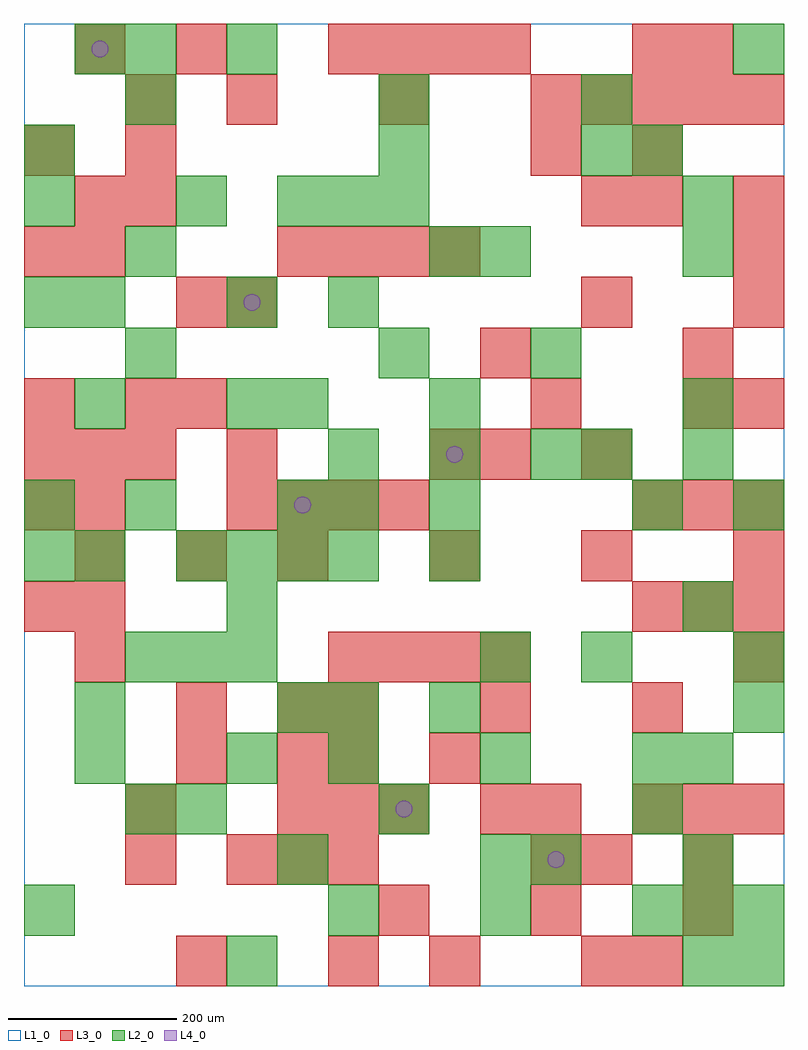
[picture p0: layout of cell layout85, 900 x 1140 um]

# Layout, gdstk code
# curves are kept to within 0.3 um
import gdstk
lib = gdstk.Library(unit=1e-6, precision=1e-09)
def R(c, l, rs):  # rectangles x0, y0, x1, y1
    for r in rs: c.add(gdstk.rectangle(r[:2], r[2:], *l))
def A(c, l, x, y, w, h, nx, ny, dx, dy):  # array of equal rectangles
    R(c, l, [(x+i*dx, y+j*dy, x+i*dx+w, y+j*dy+h) for i in range(nx) for j in range(ny)])
def P(c, l, *ps):  # polygons
    for p in ps: c.add(gdstk.Polygon(p, *l))
L1_0 = (1, 0)
L2_0 = (2, 0)
L3_0 = (3, 0)
L4_0 = (4, 0)

layout85 = lib.new_cell('layout85')
R(layout85, L1_0, [(0,0,900,1140)])
A(layout85, L2_0, 780, 0, 60, 60, 1, 3, 0, 60)
A(layout85, L2_0, 360, 60, 60, 60, 3, 2, 180, 180)
A(layout85, L2_0, 780, 240, 60, 60, 1, 3, 0, 180)
A(layout85, L2_0, 60, 300, 60, 60, 1, 3, 0, 180)
A(layout85, L2_0, 360, 300, 60, 60, 1, 3, 0, 240)
A(layout85, L2_0, 120, 360, 60, 60, 3, 1, 60, 0)
A(layout85, L2_0, 180, 480, 60, 60, 4, 1, 60, 0)
A(layout85, L2_0, 360, 600, 60, 60, 3, 1, 120, 0)
A(layout85, L2_0, 300, 900, 60, 60, 3, 1, 60, 0)
R(layout85, L2_0, [(240,0,300,60), (840,0,900,60), (0,60,60,120), (840,60,900,120), (300,120,360,180), (540,120,600,180), (600,120,660,180), (120,180,180,240), (180,180,240,240), (420,180,480,240), (720,180,780,240), (60,240,120,300), (240,240,300,300), (300,300,360,360), (480,300,540,360), (840,300,900,360), (540,360,600,420), (660,360,720,420), (840,360,900,420), (240,420,300,480), (0,480,60,540), (480,480,540,540), (0,540,60,600), (120,540,180,600), (300,540,360,600), (480,540,540,600), (720,540,780,600), (840,540,900,600), (660,600,720,660), (240,660,300,720), (300,660,360,720), (480,660,540,720), (780,660,840,720), (120,720,180,780), (420,720,480,780), (600,720,660,780), (0,780,60,840), (60,780,120,840), (240,780,300,840), (120,840,180,900), (480,840,540,900), (540,840,600,900), (780,840,840,900), (0,900,60,960), (180,900,240,960), (780,900,840,960), (0,960,60,1020), (420,960,480,1020), (660,960,720,1020), (720,960,780,1020), (120,1020,180,1080), (420,1020,480,1080), (660,1020,720,1080), (60,1080,120,1140), (120,1080,180,1140), (240,1080,300,1140), (840,1080,900,1140)])
A(layout85, L3_0, 420, 60, 60, 60, 3, 1, 180, 0)
A(layout85, L3_0, 240, 120, 60, 60, 3, 1, 60, 0)
A(layout85, L3_0, 300, 180, 60, 60, 3, 1, 60, 0)
A(layout85, L3_0, 720, 180, 60, 60, 3, 2, 60, 240)
A(layout85, L3_0, 360, 300, 60, 60, 3, 1, 180, 0)
A(layout85, L3_0, 360, 360, 60, 60, 4, 2, 60, 720)
A(layout85, L3_0, 0, 420, 60, 60, 1, 3, 0, 120)
A(layout85, L3_0, 60, 480, 60, 60, 3, 1, 120, 0)
A(layout85, L3_0, 480, 480, 60, 60, 3, 1, 180, 0)
A(layout85, L3_0, 240, 540, 60, 60, 4, 1, 60, 0)
A(layout85, L3_0, 720, 540, 60, 60, 3, 1, 60, 0)
A(layout85, L3_0, 0, 600, 60, 60, 3, 1, 60, 0)
A(layout85, L3_0, 840, 780, 60, 60, 1, 3, 0, 60)
A(layout85, L3_0, 300, 840, 60, 60, 4, 1, 60, 0)
A(layout85, L3_0, 120, 900, 60, 60, 1, 3, 0, 60)
A(layout85, L3_0, 240, 1020, 60, 60, 3, 1, 180, 0)
A(layout85, L3_0, 660, 1020, 60, 60, 4, 1, 60, 0)
R(layout85, L3_0, [(180,0,240,60), (360,0,420,60), (480,0,540,60), (660,0,720,60), (720,0,780,60), (120,120,180,180), (600,120,660,180), (660,120,720,180), (780,120,840,180), (120,180,180,240), (540,180,600,240), (600,180,660,240), (180,240,240,300), (300,240,360,300), (360,240,420,300), (480,240,540,300), (180,300,240,360), (300,300,360,360), (60,360,120,420), (840,360,900,420), (60,420,120,480), (60,540,120,600), (240,600,300,660), (480,600,540,660), (540,600,600,660), (660,600,720,660), (120,660,180,720), (180,660,240,720), (600,660,660,720), (780,660,840,720), (840,660,900,720), (540,720,600,780), (780,720,840,780), (180,780,240,840), (240,780,300,840), (660,780,720,840), (0,840,60,900), (60,840,120,900), (60,900,120,960), (660,900,720,960), (720,900,780,960), (0,960,60,1020), (600,960,660,1020), (720,960,780,1020), (60,1080,120,1140), (180,1080,240,1140), (720,1080,780,1140), (780,1080,840,1140)])
P(layout85, L4_0, [(100,1110),(99.239,1113.827),(97.071,1117.071),(93.827,1119.239),(90,1120),(86.173,1119.239),(82.929,1117.071),(80.761,1113.827),(80,1110),(80.761,1106.173),(82.929,1102.929),(86.173,1100.761),(90,1100),(93.827,1100.761),(97.071,1102.929),(99.239,1106.173)],
  [(280,810),(279.239,813.827),(277.071,817.071),(273.827,819.239),(270,820),(266.173,819.239),(262.929,817.071),(260.761,813.827),(260,810),(260.761,806.173),(262.929,802.929),(266.173,800.761),(270,800),(273.827,800.761),(277.071,802.929),(279.239,806.173)],
  [(340,570),(339.239,573.827),(337.071,577.071),(333.827,579.239),(330,580),(326.173,579.239),(322.929,577.071),(320.761,573.827),(320,570),(320.761,566.173),(322.929,562.929),(326.173,560.761),(330,560),(333.827,560.761),(337.071,562.929),(339.239,566.173)],
  [(460,210),(459.239,213.827),(457.071,217.071),(453.827,219.239),(450,220),(446.173,219.239),(442.929,217.071),(440.761,213.827),(440,210),(440.761,206.173),(442.929,202.929),(446.173,200.761),(450,200),(453.827,200.761),(457.071,202.929),(459.239,206.173)],
  [(520,630),(519.239,633.827),(517.071,637.071),(513.827,639.239),(510,640),(506.173,639.239),(502.929,637.071),(500.761,633.827),(500,630),(500.761,626.173),(502.929,622.929),(506.173,620.761),(510,620),(513.827,620.761),(517.071,622.929),(519.239,626.173)],
  [(640,150),(639.239,153.827),(637.071,157.071),(633.827,159.239),(630,160),(626.173,159.239),(622.929,157.071),(620.761,153.827),(620,150),(620.761,146.173),(622.929,142.929),(626.173,140.761),(630,140),(633.827,140.761),(637.071,142.929),(639.239,146.173)])

lib.write_gds('layout85.gds')
